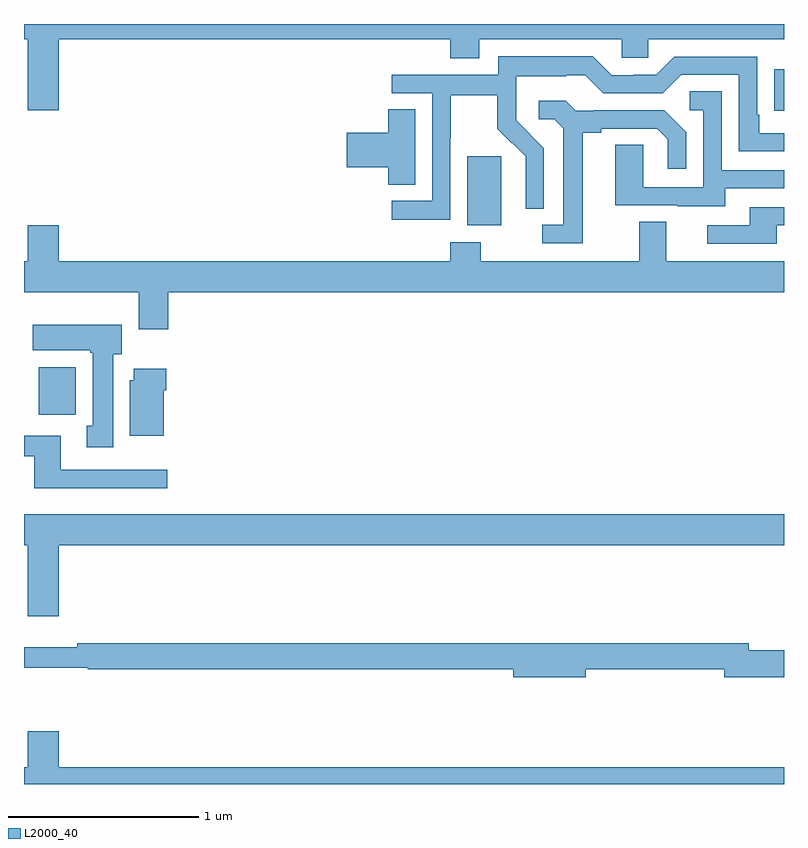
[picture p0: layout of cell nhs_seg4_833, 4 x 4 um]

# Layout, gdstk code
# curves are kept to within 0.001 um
import gdstk
lib = gdstk.Library(unit=1e-6, precision=1e-09)
def R(c, l, rs):  # rectangles x0, y0, x1, y1
    for r in rs: c.add(gdstk.rectangle(r[:2], r[2:], *l))
def P(c, l, *ps):  # polygons
    for p in ps: c.add(gdstk.Polygon(p, *l))
L2000_40 = (2000, 40)

nhs_seg4_833 = lib.new_cell('nhs_seg4_833')
R(nhs_seg4_833, L2000_40, [(153.077,794.844,153.273,795.094), (155.333,795.842,155.512,796.203), (156.949,796.444,157,796.663)])
P(nhs_seg4_833, L2000_40, [(153.184,796.82),(155.243,796.82),(155.243,796.721),(155.395,796.721),(155.395,796.82),(156.147,796.82),(156.147,796.722),(156.285,796.722),(156.285,796.82),(157,796.82),(157,796.9),(153,796.9),(153,796.82),(153.02,796.82),(153.02,796.446),(153.184,796.446)],
  [(155.244,796.3),(155.247,796.3),(155.247,796.524),(155.491,796.524),(155.491,796.349),(155.568,796.272),(155.571,796.275),(155.642,796.205),(155.642,796.082),(155.64,796.082),(155.64,795.928),(155.736,795.928),(155.736,796.246),(155.59,796.394),(155.59,796.491),(155.592,796.491),(155.592,796.625),(155.855,796.625),(155.855,796.629),(155.955,796.629),(156.048,796.536),(156.363,796.536),(156.459,796.632),(156.762,796.632),(156.762,796.23),(157,796.23),(157,796.326),(156.871,796.326),(156.871,796.423),(156.858,796.423),(156.858,796.728),(156.423,796.728),(156.327,796.632),(156.209,796.632),(156.209,796.629),(156.093,796.629),(155.993,796.729),(155.496,796.729),(155.496,796.632),(154.935,796.632),(154.935,796.536),(155.148,796.536),(155.148,795.969),(154.935,795.969),(154.935,795.871),(155.244,795.871)],
  [(156.691,796.035),(157,796.035),(157,796.131),(156.672,796.131),(156.672,796.547),(156.504,796.547),(156.504,796.446),(156.576,796.446),(156.576,796.041),(156.258,796.041),(156.258,796.265),(156.113,796.265),(156.113,795.945),(156.437,795.945),(156.437,795.941),(156.691,795.941)],
  [(155.941,796.328),(156.037,796.328),(156.037,796.35),(156.332,796.35),(156.389,796.293),(156.389,796.137),(156.486,796.137),(156.486,796.33),(156.37,796.446),(155.998,796.446),(155.998,796.443),(155.904,796.443),(155.852,796.495),(155.709,796.495),(155.709,796.398),(155.79,796.398),(155.837,796.351),(155.837,795.843),(155.727,795.843),(155.727,795.747),(155.941,795.747)],
  [(155.059,796.451),(154.916,796.451),(154.916,796.328),(154.698,796.328),(154.698,796.145),(154.916,796.145),(154.916,796.054),(155.059,796.054)],
  [(156.961,795.84),(157,795.84),(157,795.936),(156.821,795.936),(156.821,795.84),(156.597,795.84),(156.597,795.744),(156.961,795.744)],
  [(153.758,795.488),(157,795.488),(157,795.652),(156.379,795.652),(156.379,795.86),(156.239,795.86),(156.239,795.652),(155.403,795.652),(155.403,795.751),(155.243,795.751),(155.243,795.652),(153.184,795.652),(153.184,795.841),(153.02,795.841),(153.02,795.652),(153,795.652),(153,795.488),(153.605,795.488),(153.605,795.294),(153.758,795.294)],
  [(153.469,795.162),(153.514,795.162),(153.514,795.316),(153.045,795.316),(153.045,795.182),(153.349,795.182),(153.349,795.169),(153.362,795.169),(153.362,794.785),(153.329,794.785),(153.329,794.673),(153.469,794.673)],
  [(153.736,794.972),(153.749,794.972),(153.749,795.085),(153.578,795.085),(153.578,795.024),(153.557,795.024),(153.557,794.732),(153.736,794.732)],
  [(153.754,794.553),(153.193,794.553),(153.193,794.734),(153,794.734),(153,794.625),(153.053,794.625),(153.053,794.456),(153.754,794.456)],
  [(153.184,794.156),(157,794.156),(157,794.32),(153,794.32),(153,794.156),(153.02,794.156),(153.02,793.782),(153.184,793.782)],
  [(155.956,793.504),(156.686,793.504),(156.686,793.462),(157,793.462),(157,793.604),(156.814,793.604),(156.814,793.64),(153.28,793.64),(153.28,793.621),(153,793.621),(153,793.512),(153.335,793.512),(153.335,793.504),(155.576,793.504),(155.576,793.462),(155.956,793.462)],
  [(157,792.988),(153.184,792.988),(153.184,793.177),(153.02,793.177),(153.02,792.988),(153,792.988),(153,792.9),(157,792.9)])

lib.write_gds('nhs_seg4_833.gds')
